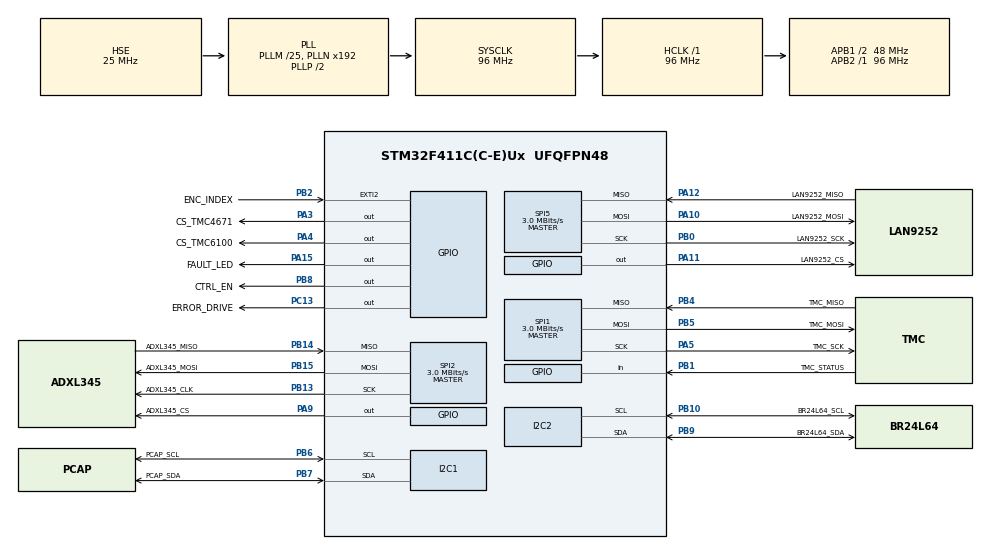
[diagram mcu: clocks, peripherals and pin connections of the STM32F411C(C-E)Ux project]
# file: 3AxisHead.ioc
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Mcu.Family=STM32F4
Mcu.Name=STM32F411C(C-E)Ux
Mcu.Package=UFQFPN48
NVIC.EXTI2_IRQn=true\:0\:0\:false\:false\:true\:true\:true\:true
NVIC.PriorityGroup=NVIC_PRIORITYGROUP_4
PA10.GPIO_Label=LAN9252_MOSI
PA10.Mode=Full_Duplex_Master
PA10.Signal=SPI5_MOSI
PA11.GPIO_Label=LAN9252_CS
PA11.Signal=GPIO_Output
PA12.GPIO_Label=LAN9252_MISO
PA12.Mode=Full_Duplex_Master
PA12.Signal=SPI5_MISO
PA13.Mode=Trace_Asynchronous_SW
PA13.Signal=SYS_JTMS-SWDIO
PA14.Mode=Trace_Asynchronous_SW
PA14.Signal=SYS_JTCK-SWCLK
PA15.GPIO_Label=FAULT_LED
PA15.Signal=GPIO_Output
PA3.GPIO_Label=CS_TMC4671
PA3.Signal=GPIO_Output
PA4.GPIO_Label=CS_TMC6100
PA4.Signal=GPIO_Output
PA5.GPIO_Label=TMC_SCK
PA5.Mode=Full_Duplex_Master
PA5.Signal=SPI1_SCK
PA9.GPIO_Label=ADXL345_CS
PA9.Signal=GPIO_Output
PB0.GPIO_Label=LAN9252_SCK
PB0.Mode=Full_Duplex_Master
PB0.Signal=SPI5_SCK
PB1.GPIO_Label=TMC_STATUS
PB1.Signal=GPIO_Input
PB10.GPIO_Label=BR24L64_SCL
PB10.Mode=I2C
PB10.Signal=I2C2_SCL
PB13.GPIO_Label=ADXL345_CLK
PB13.Mode=Full_Duplex_Master
PB13.Signal=SPI2_SCK
PB14.GPIO_Label=ADXL345_MISO
PB14.Mode=Full_Duplex_Master
PB14.Signal=SPI2_MISO
PB15.GPIO_Label=ADXL345_MOSI
PB15.Mode=Full_Duplex_Master
PB15.Signal=SPI2_MOSI
PB2.GPIO_Label=ENC_INDEX
PB2.Signal=GPXTI2
PB3.Mode=Trace_Asynchronous_SW
PB3.Signal=SYS_JTDO-SWO
PB4.GPIO_Label=TMC_MISO
PB4.Mode=Full_Duplex_Master
PB4.Signal=SPI1_MISO
PB5.GPIO_Label=TMC_MOSI
PB5.Mode=Full_Duplex_Master
PB5.Signal=SPI1_MOSI
PB6.GPIO_Label=PCAP_SCL
PB6.Mode=I2C
PB6.Signal=I2C1_SCL
PB7.GPIO_Label=PCAP_SDA
PB7.Mode=I2C
PB7.Signal=I2C1_SDA
PB8.GPIO_Label=CTRL_EN
PB8.Signal=GPIO_Output
PB9.GPIO_Label=BR24L64_SDA
PB9.Mode=I2C
PB9.Signal=I2C2_SDA
PC13-ANTI_TAMP.GPIO_Label=ERROR_DRIVE
PC13-ANTI_TAMP.Signal=GPIO_Output
PC14-OSC32_IN.Mode=LSE-External-Oscillator
PC14-OSC32_IN.Signal=RCC_OSC32_IN
PC15-OSC32_OUT.Mode=LSE-External-Oscillator
PC15-OSC32_OUT.Signal=RCC_OSC32_OUT
PH0\ -\ OSC_IN.Mode=HSE-External-Oscillator
PH0\ -\ OSC_IN.Signal=RCC_OSC_IN
PH1\ -\ OSC_OUT.Mode=HSE-External-Oscillator
PH1\ -\ OSC_OUT.Signal=RCC_OSC_OUT
ProjectManager.HeapSize=0x200
ProjectManager.StackSize=0x400
ProjectManager.TargetToolchain=STM32CubeIDE
RCC.48MHZClocksFreq_Value=48000000
RCC.AHBFreq_Value=96000000
RCC.APB1CLKDivider=RCC_HCLK_DIV2
RCC.APB1Freq_Value=48000000
RCC.APB1TimFreq_Value=96000000
RCC.APB2Freq_Value=96000000
RCC.APB2TimFreq_Value=96000000
RCC.CortexFreq_Value=96000000
RCC.HCLKFreq_Value=96000000
RCC.HSE_VALUE=25000000
RCC.HSI_VALUE=16000000
RCC.PLLM=25
RCC.PLLSourceVirtual=RCC_PLLSOURCE_HSE
RCC.SYSCLKFreq_VALUE=96000000
RCC.SYSCLKSource=RCC_SYSCLKSOURCE_PLLCLK
RCC.VCOOutputFreq_Value=192000000
SPI1.BaudRatePrescaler=SPI_BAUDRATEPRESCALER_32
SPI1.CLKPhase=SPI_PHASE_2EDGE
SPI1.CLKPolarity=SPI_POLARITY_HIGH
SPI1.CalculateBaudRate=3.0 MBits/s
SPI1.Direction=SPI_DIRECTION_2LINES
SPI1.Mode=SPI_MODE_MASTER
SPI1.VirtualType=VM_MASTER
SPI2.BaudRatePrescaler=SPI_BAUDRATEPRESCALER_16
SPI2.CLKPhase=SPI_PHASE_2EDGE
SPI2.CLKPolarity=SPI_POLARITY_HIGH
SPI2.CalculateBaudRate=3.0 MBits/s
SPI2.Direction=SPI_DIRECTION_2LINES
SPI2.Mode=SPI_MODE_MASTER
SPI2.VirtualType=VM_MASTER
SPI5.BaudRatePrescaler=SPI_BAUDRATEPRESCALER_32
SPI5.CLKPhase=SPI_PHASE_2EDGE
SPI5.CLKPolarity=SPI_POLARITY_HIGH
SPI5.CalculateBaudRate=3.0 MBits/s
SPI5.Direction=SPI_DIRECTION_2LINES
SPI5.Mode=SPI_MODE_MASTER
SPI5.VirtualType=VM_MASTER
TIM4.Period=65536-1
TIM4.Prescaler=96-1
VP_TIM4_VS_ClockSourceINT.Mode=Internal
board=custom

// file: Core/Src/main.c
/* USER CODE BEGIN Header */
/**
  ******************************************************************************
  * @file           : main.c
  * @brief          : Main program body
  ******************************************************************************
  * @attention
  *
  * Copyright (c) 2024 STMicroelectronics.
  * All rights reserved.
  *
  * This software is licensed under terms that can be found in the LICENSE file
  * in the root directory of this software component.
  * If no LICENSE file comes with this software, it is provided AS-IS.
  *
  ******************************************************************************
  */
/* USER CODE END Header */
#include "main.h"

/* USER CODE BEGIN Includes */
#include "tmc4671.h"
#include "adxl345.h"
#include "lan9252.h"
#include "pcap.h"

/* USER CODE END Includes */

I2C_HandleTypeDef hi2c1;
I2C_HandleTypeDef hi2c2;

SPI_HandleTypeDef hspi1;
SPI_HandleTypeDef hspi2;
SPI_HandleTypeDef hspi5;

TIM_HandleTypeDef htim4;

/* USER CODE BEGIN PV */
bool pcap_init_ok;
bool etc_init_ok;
bool adxl345_init_ok;

// TMC4671 variables
volatile bool index_found = false;
TMC4671_Controller tmc4671_controller;
bool no_error_comm = true;
bool no_error_drive = false;
bool data_received = false;

uint16_t TxCommand = 0;

// EtherCAt variables
bool set_command_flag = false;
bool get_command_flag = false;
bool continuous_tx_flag = false;
bool accelerometer_flag = false;
bool command_processed = false;

uint16_t etc_old_command = 0;
int32_t etc_old_data = 0;
uint16_t etc_new_command = 0;
int32_t etc_new_data = 0;

uint32_t etc_digital_output;

uint32_t etc_analog_output_0_1;

uint32_t etc_analog_output_2_3;

// Define four new variables for storing the 16-bit split outputs
uint16_t etc_analog_output_0;
uint16_t etc_analog_output_1;
uint16_t etc_analog_output_2;
uint16_t etc_analog_output_3;

// Send variables to EtherCAt
int32_t TxData = 0;
uint16_t TxStatus = 0;

// Pcap variable of structure
PcapErrorStatus Pcap_status;

//test

uint8_t set_Execution_count = 0;
uint8_t get_Execution_count = 0;

uint8_t set_sent_count = 0;
uint8_t get_sent_count = 0;
uint8_t adxl_sent_count = 0;

/* USER CODE END PV */

void SystemClock_Config(void);
static void MX_GPIO_Init(void);
static void MX_I2C2_Init(void);
static void MX_SPI1_Init(void);
static void MX_SPI5_Init(void);
static void MX_SPI2_Init(void);
static void MX_I2C1_Init(void);
static void MX_TIM4_Init(void);

/* USER CODE BEGIN 0 */
int _write(int file, char *ptr, int len){
	int DataIdx;
	for(DataIdx = 0; DataIdx < len; DataIdx++){
		ITM_SendChar(*ptr++);
	}
	return len;
}

void HAL_GPIO_EXTI_Callback(uint16_t GPIO_Pin)
{
    if(GPIO_Pin == ENC_INDEX_Pin){
    	if(!index_found){
    		index_found = true;
    	}
    }
}
/* USER CODE END 0 */

int main(void)
{

  /* MCU Configuration--------------------------------------------------------*/

  /* Reset of all peripherals, Initializes the Flash interface and the Systick. */
  HAL_Init();

  /* Configure the system clock */
  SystemClock_Config();

  /* Initialize all configured peripherals */
  MX_GPIO_Init();
  MX_I2C2_Init();
  MX_SPI1_Init();
  MX_SPI5_Init();
  MX_SPI2_Init();
  MX_I2C1_Init();
  MX_TIM4_Init();
  /* USER CODE BEGIN 2 */
  etc_init_ok = etc_init();
  pcap_init_ok = pcap_init();
  adxl345_init_ok = Adxl345_init();

  if(initializeTMC4671(&tmc4671_controller)){
	  no_error_drive = true;
  }else{
	  no_error_drive = false;
  }

  HAL_Delay(200);

  /* USER CODE END 2 */

  /* Infinite loop */
  /* USER CODE BEGIN WHILE */
  while (1)
  {
	  /*-------------------------- GET DATA FROM PCAP AND ETHERCAT----------------------------------------*/

	  if (pcap_init_ok) {
		  Pcap_status = pcap_scan();
	  } else {
		  pcap_init_ok = pcap_init();
		  Pcap_status = PCAP_COMM_ERROR;
	  }

	  if (etc_init_ok) {
		  etc_scan();
	  } else {
		  etc_init_ok = etc_init();
	  }

	  /*-------------------------- RECEIVED DATA FROM ETHERCAT ----------------------------------------*/

	  etc_new_command = (uint16_t)Etc_Buffer_Out.LANLong[0];
	  etc_new_data =  (int32_t) Etc_Buffer_Out.LANLong[1];

	  if (((etc_new_command >= 0) && (etc_new_command <= 21)) || ((etc_new_command >= 100) && (etc_new_command <= 105))) {
	      set_command_flag = true;
	  } else {
		  set_command_flag = false;
	  }

	  if ((etc_new_command >= 50 && etc_new_command <= 73) || (etc_new_command == 200)) {
		  get_command_flag = true;
	  } else {
		  get_command_flag = false;
	  }

	  if ((etc_new_command == 301 || etc_new_command == 302 || etc_new_command == 303)) {
		  accelerometer_flag = true;
	  } else {
		  accelerometer_flag = false;
	  }

	  etc_digital_output = Etc_Buffer_Out.LANLong[5];
	  etc_analog_output_0_1 = Etc_Buffer_Out.LANLong[6];
	  etc_analog_output_2_3 = Etc_Buffer_Out.LANLong[7];

	  // Split the 32-bit floats into two 16-bit outputs each
	  etc_analog_output_0 = (uint16_t)(((uint32_t)etc_analog_output_0_1) & 0xFFFF);
	  etc_analog_output_1 = (uint16_t)((((uint32_t)etc_analog_output_0_1) >> 16) & 0xFFFF);
	  etc_analog_output_2 = (uint16_t)(((uint32_t)etc_analog_output_2_3) & 0xFFFF);
	  etc_analog_output_3 = (uint16_t)((((uint32_t)etc_analog_output_2_3) >> 16) & 0xFFFF);

	  /*---------------------------PROCESS REECIVED COMMAND AND DATA-----------------------------------------*/

	  if (set_command_flag) {
		  if ((etc_old_command != etc_new_command) || (etc_old_data != etc_new_data)) {
				switch (etc_new_command) {
				case 0:
					TxData = etc_new_data;
					continuous_tx_flag = false;
					command_processed = true;
					break;

				case 1:
					TxData = etc_new_data;
					set_Execution_count++;
					if ((etc_new_data <= 0) || (etc_new_data > 1000000)) {
						setWrongCommandFlag(&tmc4671_controller, true);
					} else {
						setEncoderResolution(&tmc4671_controller, etc_new_data);
						setWrongCommandFlag(&tmc4671_controller, false);
						command_processed = true;
						continuous_tx_flag = false;
					}
					break;

				case 2:
					TxData = etc_new_data;
					set_Execution_count++;
					if ((etc_new_data != 0) && (etc_new_data != 1)) {//cannot be anything other than 0 or 1
						setWrongCommandFlag(&tmc4671_controller, true);
					} else {
						setEncoderDirection(&tmc4671_controller, etc_new_data);
						setWrongCommandFlag(&tmc4671_controller, false);
						command_processed = true;
						continuous_tx_flag = false;
					}
					break;

				case 3:
					TxData = etc_new_data;
					if (( etc_new_data <= -5000) || ( etc_new_data >= 5000)) {//cannot be less than -5000um = -5mm or greater than 5000um = 5mm
						setWrongCommandFlag(&tmc4671_controller, true);
					} else {
						setZeroOffset(&tmc4671_controller, (int32_t) etc_new_data);
						setWrongCommandFlag(&tmc4671_controller, false);
						command_processed = true;
						continuous_tx_flag = false;
					}
					break;

				case 4:
					TxData = etc_new_data;
					if (( etc_new_data <= 0) || ( etc_new_data > 12000)) {//cannot be 0, negative number or more than 12000um = 12mm
						setWrongCommandFlag(&tmc4671_controller, true);
					} else {
						setSoftPositiveLimit(&tmc4671_controller, (int32_t) etc_new_data);
						setWrongCommandFlag(&tmc4671_controller, false);
						command_processed = true;
						continuous_tx_flag = false;
					}
					break;

				case 5:
					TxData = etc_new_data;
					if (( etc_new_data >= 0) || ( etc_new_data < -12000)) {	//cannot be 0, positive number or less than -12000um = -12mm
						setWrongCommandFlag(&tmc4671_controller, true);
					} else {
						setSoftNegativeLimit(&tmc4671_controller, (int32_t) etc_new_data);
						setWrongCommandFlag(&tmc4671_controller, false);
						command_processed = true;
						continuous_tx_flag = false;
					}
					break;

				case 6:
					TxData = etc_new_data;
					if ((etc_new_data <= 0) || (etc_new_data > 2000)) {	//cannot be 0, negative number or more than 2000um = 2mm
						setWrongCommandFlag(&tmc4671_controller, true);
					} else {
						setMaxPositionError(&tmc4671_controller, etc_new_data);
						setWrongCommandFlag(&tmc4671_controller, false);
						command_processed = true;
						continuous_tx_flag = false;
					}
					break;

				case 7:
					TxData = etc_new_data;
					if ((etc_new_data <= 0) || (etc_new_data > 5000)) {	//cannot be 0, negative number or more than 5000
						setWrongCommandFlag(&tmc4671_controller, true);
					} else {
						setCurrentLimitHoming(&tmc4671_controller, etc_new_data);
						setWrongCommandFlag(&tmc4671_controller, false);
						command_processed = true;
						continuous_tx_flag = false;
					}
					break;

				case 8:
					TxData = etc_new_data;
					if ((etc_new_data <= 0) || (etc_new_data > 15000)) {//cannot be 0, negative number or more than 15000
						setWrongCommandFlag(&tmc4671_controller, true);
					} else {
						setCurrentLimitServo(&tmc4671_controller, etc_new_data);
						setWrongCommandFlag(&tmc4671_controller, false);
						command_processed = true;
						continuous_tx_flag = false;
					}
					break;

				case 9:
					TxData = etc_new_data;
					if ((etc_new_data <= 0) || (etc_new_data > 8000)) {	//cannot be 0, negative number or more than 8000
						setWrongCommandFlag(&tmc4671_controller, true);
					} else {
						setVoltageLimitHoming(&tmc4671_controller, etc_new_data);
						setWrongCommandFlag(&tmc4671_controller, false);
						command_processed = true;
						continuous_tx_flag = false;
					}
					break;

				case 10:
					TxData = etc_new_data;
					if ((etc_new_data <= 0) || (etc_new_data > 500)) {//cannot be 0, negative number or more than 500
						setWrongCommandFlag(&tmc4671_controller, true);
					} else {
						setVelocityLimitServo(&tmc4671_controller, etc_new_data);
						setWrongCommandFlag(&tmc4671_controller, false);
						command_processed = true;
						continuous_tx_flag = false;
					}
					break;

				case 11:
					TxData = etc_new_data;
					if ((etc_new_data <= 0) || (etc_new_data > 30000)) {//cannot be 0, negative number or more than 30000
						setWrongCommandFlag(&tmc4671_controller, true);
					} else {
						setTorqueLimitServo(&tmc4671_controller, etc_new_data);
						setWrongCommandFlag(&tmc4671_controller, false);
						command_processed = true;
						continuous_tx_flag = false;
					}
					break;

				case 12:
					TxData = etc_new_data;
					if ((etc_new_data <= 0) || (etc_new_data > 32500)) {//cannot be 0, negative number or more than 32500
						setWrongCommandFlag(&tmc4671_controller, true);
					} else {
						setCurrentGainP(&tmc4671_controller, etc_new_data);
						setWrongCommandFlag(&tmc4671_controller, false);
						command_processed = true;
						continuous_tx_flag = false;
					}
					break;

				case 13:
					TxData = etc_new_data;
					if ((etc_new_data <= 0) || (etc_new_data > 32500)) {//cannot be 0, negative number or more than 32500
						setWrongCommandFlag(&tmc4671_controller, true);
					} else {
						setCurrentGainI(&tmc4671_controller, etc_new_data);
						setWrongCommandFlag(&tmc4671_controller, false);
						command_processed = true;
						continuous_tx_flag = false;
					}
					break;

				case 14:
					TxData = etc_new_data;
					if ((etc_new_data <= 0) || (etc_new_data > 32500)) {//cannot be 0, negative number or more than 32500
						setWrongCommandFlag(&tmc4671_controller, true);
					} else {
						setVelocityGainP(&tmc4671_controller, etc_new_data);
						setWrongCommandFlag(&tmc4671_controller, false);
						command_processed = true;
						continuous_tx_flag = false;
					}
					continuous_tx_flag = false;
					break;

				case 15:
					TxData = etc_new_data;
					if ((etc_new_data <= 0) || (etc_new_data > 32500)) {//cannot be 0, negative number or more than 32500
						setWrongCommandFlag(&tmc4671_controller, true);
					} else {
						setVelocityGainI(&tmc4671_controller, etc_new_data);
						setWrongCommandFlag(&tmc4671_controller, false);
						command_processed = true;
						continuous_tx_flag = false;
					}
					break;

				case 16:
					TxData = etc_new_data;
					if ((etc_new_data <= 0) || (etc_new_data > 32500)) {//cannot be 0, negative number or more than 32500
						setWrongCommandFlag(&tmc4671_controller, true);
					} else {
						setPositionGainP(&tmc4671_controller, etc_new_data);
						setWrongCommandFlag(&tmc4671_controller, false);
						command_processed = true;
						continuous_tx_flag = false;
					}
					break;

				case 17:
					TxData = etc_new_data;
					if ((etc_new_data <= 0) || (etc_new_data > 32500)) {//cannot be 0, negative number or more than 32500
						setWrongCommandFlag(&tmc4671_controller, true);
					} else {
						setPositionGainI(&tmc4671_controller, etc_new_data);
						setWrongCommandFlag(&tmc4671_controller, false);
						command_processed = true;
						continuous_tx_flag = false;
					}
					break;

				case 18:
					TxData = etc_new_data;
					if (( etc_new_data < -12000) || ( etc_new_data > 12000)) {//cannot be less than -12000um = -12mm or greater than 12000um = 12mm
						setWrongCommandFlag(&tmc4671_controller, true);
					} else {
						setAbsoluteTargetPosition(&tmc4671_controller, (int32_t) etc_new_data);
						setWrongCommandFlag(&tmc4671_controller, false);
						command_processed = true;
						continuous_tx_flag = false;
					}
					break;

				case 19:
					TxData = etc_new_data;
					if (( etc_new_data < -12000) || ( etc_new_data > 12000)) {//cannot be less than -12000um = -12mm or greater than 12000um = 12mm
						setWrongCommandFlag(&tmc4671_controller, true);
					} else {
						setIncrementalTargetPosition(&tmc4671_controller, (int32_t) etc_new_data);
						setWrongCommandFlag(&tmc4671_controller, false);
						command_processed = true;
						continuous_tx_flag = false;
					}
					break;

				case 20:
					TxData = etc_new_data;
					if ((etc_new_data < -12) || (etc_new_data > 12)) {//cannot be less than -12000um = -12mm or greater than 12000um = 12mm
						setWrongCommandFlag(&tmc4671_controller, true);
					} else {
						setWrongCommandFlag(&tmc4671_controller, false);
						setTargetVelocity(&tmc4671_controller, etc_new_data);
						command_processed = true;
						continuous_tx_flag = false;
					}
					break;

				case 21:
					if ((etc_new_data < 1) || (etc_new_data > 40)) {//cannot be less than -12000um = -12mm or greater than 12000um = 12mm
						setWrongCommandFlag(&tmc4671_controller, true);
					} else {
						setWrongCommandFlag(&tmc4671_controller, false);
						setAccelerationLimitServo(&tmc4671_controller, etc_new_data);
						command_processed = true;
						continuous_tx_flag = false;
					}
					break;

				case 100:
					TxData = etc_new_data;
					if ((etc_new_data != 0) && (etc_new_data != 1)) {//cannot be anything other than 0 or 1
						setWrongCommandFlag(&tmc4671_controller, true);
					} else {
						servoEnable(&tmc4671_controller, etc_new_data);
						setWrongCommandFlag(&tmc4671_controller, false);
						command_processed = true;
						continuous_tx_flag = false;
					}
					break;

				case 101:
					TxData = 0;
					startHoming(&tmc4671_controller);
					setWrongCommandFlag(&tmc4671_controller, false);
					continuous_tx_flag = false;
					command_processed = true;
					break;

				case 102:
					TxData = 0;
					clearFaults(&tmc4671_controller);
					setWrongCommandFlag(&tmc4671_controller, false);
					continuous_tx_flag = false;
					command_processed = true;
					break;

				case 103:
					TxData = 0;
					saveParameters(&tmc4671_controller);
					setWrongCommandFlag(&tmc4671_controller, false);
					continuous_tx_flag = false;
					command_processed = true;
					break;

				case 104:
					TxData = 0;
					loadDefaultParameters(&tmc4671_controller);
					setWrongCommandFlag(&tmc4671_controller, false);
					continuous_tx_flag = false;
					command_processed = true;
					break;

				case 105:
					TxData = 0;
					stopMovement(&tmc4671_controller);
					setWrongCommandFlag(&tmc4671_controller, false);
					continuous_tx_flag = false;
					command_processed = true;
					break;

				default:
					break;
				}
				etc_old_command = etc_new_command;
				etc_old_data = etc_new_data;
		  }
	  } else if (get_command_flag) {
		  switch(etc_new_command) {
			case 50:
				TxData = getEncoderResolution(&tmc4671_controller);
				setWrongCommandFlag(&tmc4671_controller, false);
				continuous_tx_flag = true;
				break;

			case 51:
				TxData = getEncoderDirection(&tmc4671_controller);
				setWrongCommandFlag(&tmc4671_controller, false);
				continuous_tx_flag = true;
				break;

			case 52:
				 TxData = getZeroOffset(&tmc4671_controller);
				 setWrongCommandFlag(&tmc4671_controller, false);
				 continuous_tx_flag = true;
				 break;

			case 53:
				TxData = getSoftPositiveLimit(&tmc4671_controller);
				setWrongCommandFlag(&tmc4671_controller, false);
				continuous_tx_flag = true;
				break;

			case 54:
				TxData =  getSoftNegativeLimit(&tmc4671_controller);
				setWrongCommandFlag(&tmc4671_controller, false);
				continuous_tx_flag = true;
				break;

			case 55:
				TxData = getMaxPositionError(&tmc4671_controller);
				setWrongCommandFlag(&tmc4671_controller, false);
				continuous_tx_flag = true;
				break;

			case 56:
			    TxData = getCurrentLimitHoming(&tmc4671_controller);
				setWrongCommandFlag(&tmc4671_controller, false);
				continuous_tx_flag = true;
				break;

			case 57:
				TxData = getCurrentLimitServo(&tmc4671_controller);
				setWrongCommandFlag(&tmc4671_controller, false);
				continuous_tx_flag = true;
				break;

			case 58:
				TxData = getVoltageLimitHoming(&tmc4671_controller);
				setWrongCommandFlag(&tmc4671_controller, false);
				continuous_tx_flag = true;
				break;

			case 59:
				TxData = getVelocityLimitServo(&tmc4671_controller);
				setWrongCommandFlag(&tmc4671_controller, false);
				continuous_tx_flag = true;
				break;

			case 60:
				TxData = getTorqueLimitServo(&tmc4671_controller);
				setWrongCommandFlag(&tmc4671_controller, false);
				continuous_tx_flag = true;
				break;

			case 61:
				TxData = getCurrentGainP(&tmc4671_controller);
				setWrongCommandFlag(&tmc4671_controller, false);
				continuous_tx_flag = true;
				break;

			case 62:
				TxData = getCurrentGainI(&tmc4671_controller);
				setWrongCommandFlag(&tmc4671_controller, false);
				continuous_tx_flag = true;
				break;

			case 63:
				TxData = getVelocityGainP(&tmc4671_controller);
				setWrongCommandFlag(&tmc4671_controller, false);
				continuous_tx_flag = true;
				break;

			case 64:
				TxData = getVelocityGainI(&tmc4671_controller);
				setWrongCommandFlag(&tmc4671_controller, false);
				continuous_tx_flag = true;
				break;

			case 65:
				TxData = getPositionGainP(&tmc4671_controller);
				setWrongCommandFlag(&tmc4671_controller, false);
				continuous_tx_flag = true;
				break;

			case 66:
				TxData = getPositionGainI(&tmc4671_controller);
				setWrongCommandFlag(&tmc4671_controller, false);
				continuous_tx_flag = true;
				break;

			case 67:
				TxData = getTargetPosition(&tmc4671_controller);
				setWrongCommandFlag(&tmc4671_controller, false);
				continuous_tx_flag = true;
				break;

			case 68:
				TxData = getActualPosition(&tmc4671_controller);
				setWrongCommandFlag(&tmc4671_controller, false);
				continuous_tx_flag = true;
				break;

			case 69:
				TxData = getCoilCurrent(&tmc4671_controller);
				setWrongCommandFlag(&tmc4671_controller, false);
				continuous_tx_flag = true;
				break;

			case 70:
				TxData = getFirmwareVersion(&tmc4671_controller);
				setWrongCommandFlag(&tmc4671_controller, false);
				continuous_tx_flag = true;
				break;

			case 71:
				TxData = getTargetVelocity(&tmc4671_controller);
				setWrongCommandFlag(&tmc4671_controller, false);
				continuous_tx_flag = true;
				break;

			case 72:
				TxData = getActualVelocity(&tmc4671_controller);
				setWrongCommandFlag(&tmc4671_controller, false);
				continuous_tx_flag = true;
				break;

			case 73:
				TxData = getAccelerationLimitServo(&tmc4671_controller);
				setWrongCommandFlag(&tmc4671_controller, false);
				continuous_tx_flag = true;
				break;

			case 200:
				TxData = 0;
				setWrongCommandFlag(&tmc4671_controller, false);
				continuous_tx_flag = false;
				break;

			default:
				TxData = 0;
				setWrongCommandFlag(&tmc4671_controller, true);
				continuous_tx_flag = false;
				break;
		  }
		  etc_old_command = 0;
		  etc_old_data = 0;
	  } else if (accelerometer_flag) {
		  switch(etc_new_command) {
		  case 301:
			  get_Execution_count++;
			  setWrongCommandFlag(&tmc4671_controller, false);
			  TxData = getAcceleration('X');
			  continuous_tx_flag = true;
			  break;

		  case 302:
			  get_Execution_count++;
			  setWrongCommandFlag(&tmc4671_controller, false);
			  TxData = getAcceleration('Y');
			  continuous_tx_flag = true;
			  break;

		  case 303:
			  setWrongCommandFlag(&tmc4671_controller, false);
			  TxData = getAcceleration('Z');
			  continuous_tx_flag = true;
			  break;
		  }
		  etc_old_command = 0;
		  etc_old_data = 0;
	  }

	  /*---------------------------------SERVO FUNCTIONALITY-----------------------------------------*/

	  servoRun(&tmc4671_controller);
	  uint16_t current_status = getEventStatusWord_TMC(&tmc4671_controller);
	  current_status |= 0b1110000011110000;
	  if (current_status != 0b1110000011110000) {
		  no_error_drive = false;
	  } else {
		  no_error_drive = true;
	  }

	  /*---------------------------TRANSMIT DATA TO ETHERCAT ---------------------------------------------*/

	  uint16_t tmc_status = getEventStatusWord_TMC(&tmc4671_controller);
	  uint16_t pcap_status_word = getEventStatusWord_PCAP(&Pcap_status);

	  TxStatus = tmc_status | pcap_status_word;

	  if (set_command_flag) {
		  if (!continuous_tx_flag && command_processed) {
			  set_sent_count++;
			  Etc_Buffer_In.LANLong[0] = ((uint32_t)TxStatus << 16) | (uint32_t)etc_old_command;
			  Etc_Buffer_In.LANLong[1] = TxData;
			  continuous_tx_flag = true;  // Mark that data has been sent
		  }
		  Etc_Buffer_In.LANLong[0] = ((uint32_t)TxStatus << 16) | (uint32_t)etc_new_command;
	  }

	  if (get_command_flag && etc_new_command !=200 ) {
		  get_sent_count++;
		  Etc_Buffer_In.LANLong[0] = ((uint32_t) TxStatus << 16) | (uint32_t) etc_new_command;
		  Etc_Buffer_In.LANInt[1] = TxData;
	  } else if (get_command_flag && etc_new_command == 200 ) {
		  Etc_Buffer_In.LANLong[0] = ((uint32_t) TxStatus << 16) | (uint32_t) etc_new_command;
		  Etc_Buffer_In.LANInt[1] = TxStatus;
	  }

	  if(accelerometer_flag) {
		  adxl_sent_count++;
		  Etc_Buffer_In.LANLong[0] = ((uint32_t) TxStatus << 16) | (uint32_t) etc_new_command;
		  Etc_Buffer_In.LANLong[1] = (int32_t)TxData;
	  }

	  if (no_error_drive) {
		  HAL_GPIO_WritePin(ERROR_DRIVE_GPIO_Port, ERROR_DRIVE_Pin, GPIO_PIN_SET);
	  } else {
		  HAL_GPIO_WritePin(ERROR_DRIVE_GPIO_Port, ERROR_DRIVE_Pin, GPIO_PIN_RESET);
	  }

    /* USER CODE END WHILE */

  }
}

void SystemClock_Config(void)
{
  RCC_OscInitTypeDef RCC_OscInitStruct = {0};
  RCC_ClkInitTypeDef RCC_ClkInitStruct = {0};

  /** Configure the main internal regulator output voltage
  */
  __HAL_RCC_PWR_CLK_ENABLE();
  __HAL_PWR_VOLTAGESCALING_CONFIG(PWR_REGULATOR_VOLTAGE_SCALE1);

  /** Initializes the RCC Oscillators according to the specified parameters
  * in the RCC_OscInitTypeDef structure.
  */
  RCC_OscInitStruct.OscillatorType = RCC_OSCILLATORTYPE_HSE;
  RCC_OscInitStruct.HSEState = RCC_HSE_ON;
  RCC_OscInitStruct.PLL.PLLState = RCC_PLL_ON;
  RCC_OscInitStruct.PLL.PLLSource = RCC_PLLSOURCE_HSE;
  RCC_OscInitStruct.PLL.PLLM = 25;
  RCC_OscInitStruct.PLL.PLLN = 192;
  RCC_OscInitStruct.PLL.PLLP = RCC_PLLP_DIV2;
  RCC_OscInitStruct.PLL.PLLQ = 4;
  if (HAL_RCC_OscConfig(&RCC_OscInitStruct) != HAL_OK)
  {
    Error_Handler();
  }

  /** Initializes the CPU, AHB and APB buses clocks
  */
  RCC_ClkInitStruct.ClockType = RCC_CLOCKTYPE_HCLK|RCC_CLOCKTYPE_SYSCLK
                              |RCC_CLOCKTYPE_PCLK1|RCC_CLOCKTYPE_PCLK2;
  RCC_ClkInitStruct.SYSCLKSource = RCC_SYSCLKSOURCE_PLLCLK;
  RCC_ClkInitStruct.AHBCLKDivider = RCC_SYSCLK_DIV1;
  RCC_ClkInitStruct.APB1CLKDivider = RCC_HCLK_DIV2;
  RCC_ClkInitStruct.APB2CLKDivider = RCC_HCLK_DIV1;

  if (HAL_RCC_ClockConfig(&RCC_ClkInitStruct, FLASH_LATENCY_3) != HAL_OK)
  {
    Error_Handler();
  }
}

static void MX_I2C1_Init(void)
{

  hi2c1.Instance = I2C1;
  hi2c1.Init.ClockSpeed = 100000;
  hi2c1.Init.DutyCycle = I2C_DUTYCYCLE_2;
  hi2c1.Init.OwnAddress1 = 0;
  hi2c1.Init.AddressingMode = I2C_ADDRESSINGMODE_7BIT;
  hi2c1.Init.DualAddressMode = I2C_DUALADDRESS_DISABLE;
  hi2c1.Init.OwnAddress2 = 0;
  hi2c1.Init.GeneralCallMode = I2C_GENERALCALL_DISABLE;
  hi2c1.Init.NoStretchMode = I2C_NOSTRETCH_DISABLE;
  if (HAL_I2C_Init(&hi2c1) != HAL_OK)
  {
    Error_Handler();
  }

}

static void MX_I2C2_Init(void)
{

  hi2c2.Instance = I2C2;
  hi2c2.Init.ClockSpeed = 100000;
  hi2c2.Init.DutyCycle = I2C_DUTYCYCLE_2;
  hi2c2.Init.OwnAddress1 = 0;
  hi2c2.Init.AddressingMode = I2C_ADDRESSINGMODE_7BIT;
  hi2c2.Init.DualAddressMode = I2C_DUALADDRESS_DISABLE;
  hi2c2.Init.OwnAddress2 = 0;
  hi2c2.Init.GeneralCallMode = I2C_GENERALCALL_DISABLE;
  hi2c2.Init.NoStretchMode = I2C_NOSTRETCH_DISABLE;
  if (HAL_I2C_Init(&hi2c2) != HAL_OK)
  {
    Error_Handler();
  }

}

static void MX_SPI1_Init(void)
{

  /* SPI1 parameter configuration*/
  hspi1.Instance = SPI1;
  hspi1.Init.Mode = SPI_MODE_MASTER;
  hspi1.Init.Direction = SPI_DIRECTION_2LINES;
  hspi1.Init.DataSize = SPI_DATASIZE_8BIT;
  hspi1.Init.CLKPolarity = SPI_POLARITY_HIGH;
  hspi1.Init.CLKPhase = SPI_PHASE_2EDGE;
  hspi1.Init.NSS = SPI_NSS_SOFT;
  hspi1.Init.BaudRatePrescaler = SPI_BAUDRATEPRESCALER_32;
  hspi1.Init.FirstBit = SPI_FIRSTBIT_MSB;
  hspi1.Init.TIMode = SPI_TIMODE_DISABLE;
  hspi1.Init.CRCCalculation = SPI_CRCCALCULATION_DISABLE;
  hspi1.Init.CRCPolynomial = 10;
  if (HAL_SPI_Init(&hspi1) != HAL_OK)
  {
    Error_Handler();
  }

}

static void MX_SPI2_Init(void)
{

  /* SPI2 parameter configuration*/
  hspi2.Instance = SPI2;
  hspi2.Init.Mode = SPI_MODE_MASTER;
  hspi2.Init.Direction = SPI_DIRECTION_2LINES;
  hspi2.Init.DataSize = SPI_DATASIZE_8BIT;
  hspi2.Init.CLKPolarity = SPI_POLARITY_HIGH;
  hspi2.Init.CLKPhase = SPI_PHASE_2EDGE;
  hspi2.Init.NSS = SPI_NSS_SOFT;
  hspi2.Init.BaudRatePrescaler = SPI_BAUDRATEPRESCALER_16;
  hspi2.Init.FirstBit = SPI_FIRSTBIT_MSB;
  hspi2.Init.TIMode = SPI_TIMODE_DISABLE;
  hspi2.Init.CRCCalculation = SPI_CRCCALCULATION_DISABLE;
  hspi2.Init.CRCPolynomial = 10;
  if (HAL_SPI_Init(&hspi2) != HAL_OK)
  {
    Error_Handler();
  }

}

static void MX_SPI5_Init(void)
{

  /* SPI5 parameter configuration*/
  hspi5.Instance = SPI5;
  hspi5.Init.Mode = SPI_MODE_MASTER;
  hspi5.Init.Direction = SPI_DIRECTION_2LINES;
  hspi5.Init.DataSize = SPI_DATASIZE_8BIT;
  hspi5.Init.CLKPolarity = SPI_POLARITY_HIGH;
  hspi5.Init.CLKPhase = SPI_PHASE_2EDGE;
  hspi5.Init.NSS = SPI_NSS_SOFT;
  hspi5.Init.BaudRatePrescaler = SPI_BAUDRATEPRESCALER_32;
  hspi5.Init.FirstBit = SPI_FIRSTBIT_MSB;
  hspi5.Init.TIMode = SPI_TIMODE_DISABLE;
  hspi5.Init.CRCCalculation = SPI_CRCCALCULATION_DISABLE;
  hspi5.Init.CRCPolynomial = 10;
  if (HAL_SPI_Init(&hspi5) != HAL_OK)
  {
    Error_Handler();
  }

}

static void MX_TIM4_Init(void)
{

  TIM_ClockConfigTypeDef sClockSourceConfig = {0};
  TIM_MasterConfigTypeDef sMasterConfig = {0};

  htim4.Instance = TIM4;
  htim4.Init.Prescaler = 96-1;
  htim4.Init.CounterMode = TIM_COUNTERMODE_UP;
  htim4.Init.Period = 65536-1;
  htim4.Init.ClockDivision = TIM_CLOCKDIVISION_DIV1;
  htim4.Init.AutoReloadPreload = TIM_AUTORELOAD_PRELOAD_DISABLE;
  if (HAL_TIM_Base_Init(&htim4) != HAL_OK)
  {
    Error_Handler();
  }
  sClockSourceConfig.ClockSource = TIM_CLOCKSOURCE_INTERNAL;
  if (HAL_TIM_ConfigClockSource(&htim4, &sClockSourceConfig) != HAL_OK)
  {
    Error_Handler();
  }
  sMasterConfig.MasterOutputTrigger = TIM_TRGO_RESET;
  sMasterConfig.MasterSlaveMode = TIM_MASTERSLAVEMODE_DISABLE;
  if (HAL_TIMEx_MasterConfigSynchronization(&htim4, &sMasterConfig) != HAL_OK)
  {
    Error_Handler();
  }

}

static void MX_GPIO_Init(void)
{
  GPIO_InitTypeDef GPIO_InitStruct = {0};

  /* GPIO Ports Clock Enable */
  __HAL_RCC_GPIOC_CLK_ENABLE();
  __HAL_RCC_GPIOH_CLK_ENABLE();
  __HAL_RCC_GPIOA_CLK_ENABLE();
  __HAL_RCC_GPIOB_CLK_ENABLE();

  /*Configure GPIO pin Output Level */
  HAL_GPIO_WritePin(ERROR_DRIVE_GPIO_Port, ERROR_DRIVE_Pin, GPIO_PIN_RESET);

  /*Configure GPIO pin Output Level */
  HAL_GPIO_WritePin(GPIOA, CS_TMC4671_Pin|CS_TMC6100_Pin|ADXL345_CS_Pin|LAN9252_CS_Pin
                          |FAULT_LED_Pin, GPIO_PIN_RESET);

  /*Configure GPIO pin Output Level */
  HAL_GPIO_WritePin(CTRL_EN_GPIO_Port, CTRL_EN_Pin, GPIO_PIN_RESET);

  /*Configure GPIO pin : ERROR_DRIVE_Pin */
  GPIO_InitStruct.Pin = ERROR_DRIVE_Pin;
  GPIO_InitStruct.Mode = GPIO_MODE_OUTPUT_PP;
  GPIO_InitStruct.Pull = GPIO_NOPULL;
  GPIO_InitStruct.Speed = GPIO_SPEED_FREQ_LOW;
  HAL_GPIO_Init(ERROR_DRIVE_GPIO_Port, &GPIO_InitStruct);

  /*Configure GPIO pins : CS_TMC4671_Pin CS_TMC6100_Pin ADXL345_CS_Pin LAN9252_CS_Pin
                           FAULT_LED_Pin */
  GPIO_InitStruct.Pin = CS_TMC4671_Pin|CS_TMC6100_Pin|ADXL345_CS_Pin|LAN9252_CS_Pin
                          |FAULT_LED_Pin;
  GPIO_InitStruct.Mode = GPIO_MODE_OUTPUT_PP;
  GPIO_InitStruct.Pull = GPIO_NOPULL;
  GPIO_InitStruct.Speed = GPIO_SPEED_FREQ_LOW;
  HAL_GPIO_Init(GPIOA, &GPIO_InitStruct);

  /*Configure GPIO pin : TMC_STATUS_Pin */
  GPIO_InitStruct.Pin = TMC_STATUS_Pin;
  GPIO_InitStruct.Mode = GPIO_MODE_INPUT;
  GPIO_InitStruct.Pull = GPIO_NOPULL;
  HAL_GPIO_Init(TMC_STATUS_GPIO_Port, &GPIO_InitStruct);

  /*Configure GPIO pin : ENC_INDEX_Pin */
  GPIO_InitStruct.Pin = ENC_INDEX_Pin;
  GPIO_InitStruct.Mode = GPIO_MODE_IT_RISING;
  GPIO_InitStruct.Pull = GPIO_NOPULL;
  HAL_GPIO_Init(ENC_INDEX_GPIO_Port, &GPIO_InitStruct);

  /*Configure GPIO pin : CTRL_EN_Pin */
  GPIO_InitStruct.Pin = CTRL_EN_Pin;
  GPIO_InitStruct.Mode = GPIO_MODE_OUTPUT_PP;
  GPIO_InitStruct.Pull = GPIO_NOPULL;
  GPIO_InitStruct.Speed = GPIO_SPEED_FREQ_LOW;
  HAL_GPIO_Init(CTRL_EN_GPIO_Port, &GPIO_InitStruct);

  /* EXTI interrupt init*/
  HAL_NVIC_SetPriority(EXTI2_IRQn, 0, 0);
  HAL_NVIC_EnableIRQ(EXTI2_IRQn);

}

void Error_Handler(void)
{
  __disable_irq();
  while (1)
  {
  }
}
